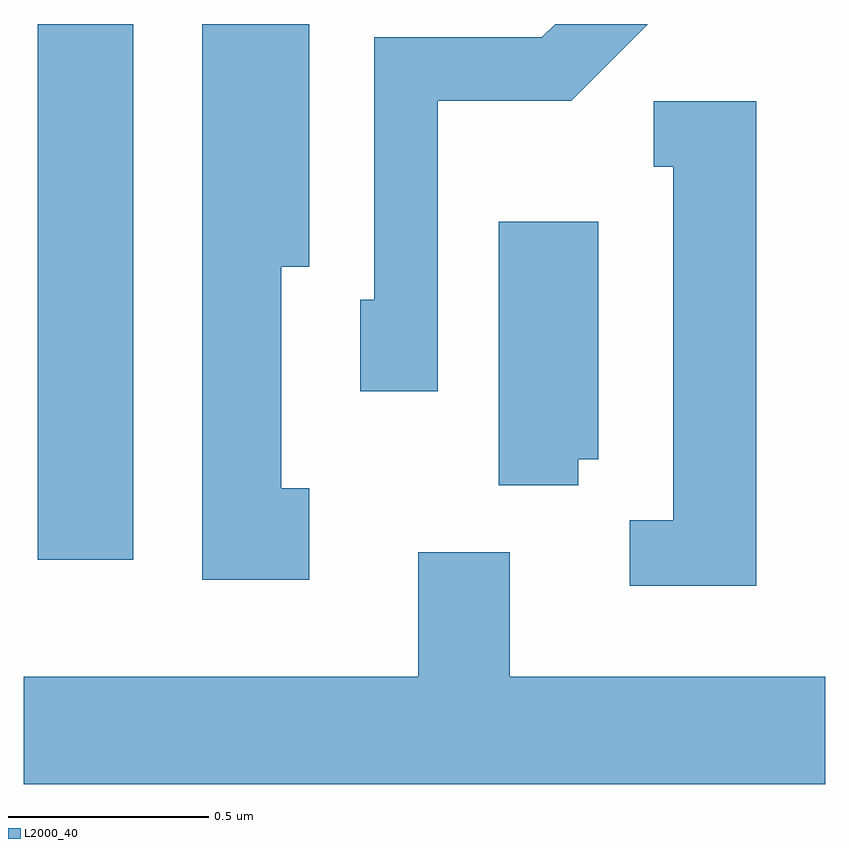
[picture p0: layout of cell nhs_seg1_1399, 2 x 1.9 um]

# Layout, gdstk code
import gdstk
lib = gdstk.Library(unit=1e-6, precision=1e-09)
def R(c, l, rs):  # rectangles x0, y0, x1, y1
    for r in rs: c.add(gdstk.rectangle(r[:2], r[2:], *l))
def P(c, l, *ps):  # polygons
    for p in ps: c.add(gdstk.Polygon(p, *l))
L2000_40 = (2000, 40)

nhs_seg1_1399 = lib.new_cell('nhs_seg1_1399')
R(nhs_seg1_1399, L2000_40, [(195.646,882.376,195.884,883.712)])
P(nhs_seg1_1399, L2000_40, [(196.324,882.554),(196.254,882.554),(196.254,883.106),(196.324,883.106),(196.324,883.712),(196.056,883.712),(196.056,882.326),(196.324,882.326)],
  [(196.644,883.521),(196.977,883.521),(197.168,883.712),(196.937,883.712),(196.904,883.679),(196.486,883.679),(196.486,883.024),(196.451,883.024),(196.451,882.796),(196.644,882.796)],
  [(197.439,883.519),(197.183,883.519),(197.183,883.356),(197.231,883.356),(197.231,882.474),(197.123,882.474),(197.123,882.311),(197.439,882.311)],
  [(196.994,882.626),(197.044,882.626),(197.044,883.219),(196.796,883.219),(196.796,882.561),(196.994,882.561)],
  [(197.611,882.084),(196.824,882.084),(196.824,882.394),(196.596,882.394),(196.596,882.084),(195.611,882.084),(195.611,881.816),(197.611,881.816)])

lib.write_gds('nhs_seg1_1399.gds')
